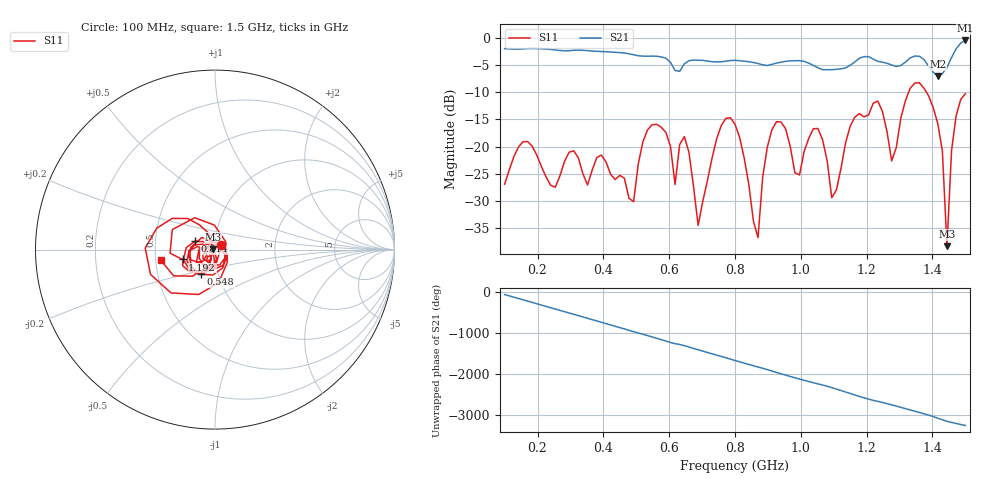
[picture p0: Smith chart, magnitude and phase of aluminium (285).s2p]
! NanoVNA-App
! Date: 2025-09-25 14:57:30
! Start: 100MHz Stop: 1,5GHz Points: 101
! S-Parameter data: F S11 S21 S12 S22
# Hz S RI R 50
!  Frequency  S11_Real  S11_Imag  S21_Real  S21_Imag  S12_Real  S12_Imag  S22_Real  S22_Imag
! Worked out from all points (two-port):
!   101 points, 100 MHz to 1.5 GHz, reference 50 ohm
!   highest |S21| = -0.42 dB at 1.5 GHz (marker M1); lowest = -7.0 dB at 1.416 GHz (marker M2)
!   |S21| within 3 dB of the highest: start of sweep to 571 MHz; 1.459 GHz to end of sweep (the widest 2 of 4)
!   lowest |S11| = -38.4 dB at 1.444 GHz (marker M3), VSWR 1.02, Z = 48.8 + j0.236 ohm
!   |S11| at or under -10 dB: start of sweep to 1.327 GHz; 1.382 GHz to end of sweep
!   S12 and S22 are empty: the file has one direction only
!   S11 on the Smith chart (normalised r, x): 100 MHz: 1.07, +0.06; 548 MHz: 0.82, -0.23; 814 MHz: 0.79, +0.07; 1.192 GHz: 0.69, -0.08; 1.5 GHz: 0.53, -0.07
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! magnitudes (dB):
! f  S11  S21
! 100 MHz  -27.0  -1.9
! 338 MHz  -25.0  -2.2
! 492 MHz  -30.2  -3.1
! 548 MHz  -16.0  -3.3
! 576 MHz  -16.4  -3.5
! 618 MHz  -27.0  -6.0
! 646 MHz  -18.2  -4.7
! 688 MHz  -34.6  -4.1
! 800 MHz  -15.9  -4.1
! 814 MHz  -18.3  -4.2
! 870 MHz  -36.8  -4.7
! 912 MHz  -16.9  -4.8
! 996 MHz  -25.2  -4.1
! 1.038 GHz  -16.7  -5.0
! 1.094 GHz  -29.5  -5.8
! 1.192 GHz  -14.5  -3.4
! 1.276 GHz  -22.6  -4.9
! 1.346 GHz  -8.3  -3.3
! 1.416 GHz  -15.7  -7.0
! 1.444 GHz  -38.4  -5.4
! 1.458 GHz  -20.7  -3.6
! 1.5 GHz  -10.2  -0.4
